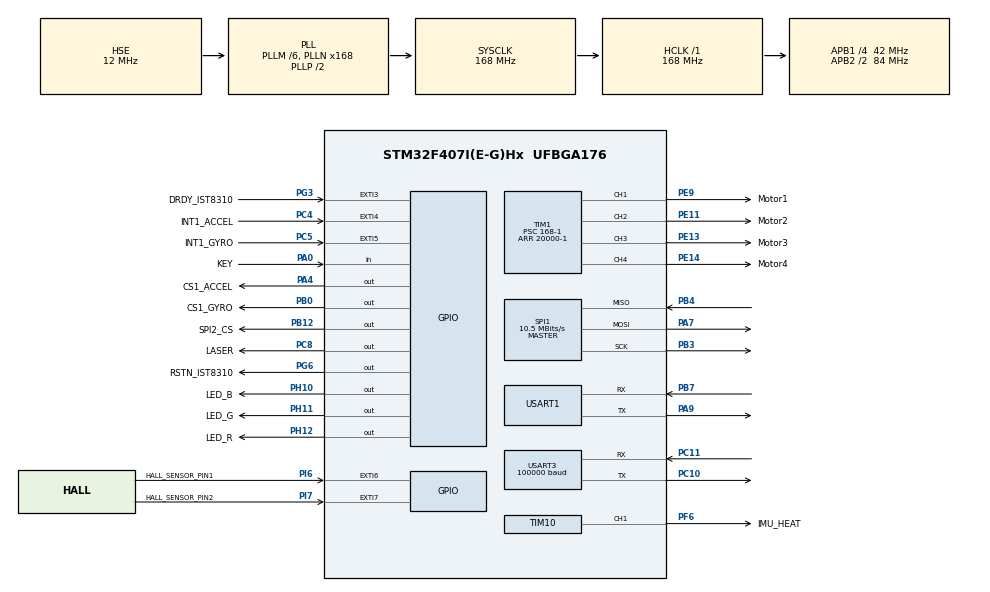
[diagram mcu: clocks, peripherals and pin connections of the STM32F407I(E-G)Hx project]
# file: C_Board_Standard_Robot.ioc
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Dma.Request0=SPI1_RX
Dma.Request1=SPI1_TX
Dma.Request2=USART3_RX
Dma.SPI1_RX.0.Direction=DMA_PERIPH_TO_MEMORY
Dma.SPI1_RX.0.FIFOMode=DMA_FIFOMODE_DISABLE
Dma.SPI1_RX.0.Instance=DMA2_Stream0
Dma.SPI1_RX.0.MemDataAlignment=DMA_MDATAALIGN_BYTE
Dma.SPI1_RX.0.MemInc=DMA_MINC_ENABLE
Dma.SPI1_RX.0.Mode=DMA_NORMAL
Dma.SPI1_RX.0.PeriphDataAlignment=DMA_PDATAALIGN_BYTE
Dma.SPI1_RX.0.PeriphInc=DMA_PINC_DISABLE
Dma.SPI1_RX.0.Priority=DMA_PRIORITY_VERY_HIGH
Dma.SPI1_TX.1.Direction=DMA_MEMORY_TO_PERIPH
Dma.SPI1_TX.1.FIFOMode=DMA_FIFOMODE_DISABLE
Dma.SPI1_TX.1.Instance=DMA2_Stream3
Dma.SPI1_TX.1.MemDataAlignment=DMA_MDATAALIGN_BYTE
Dma.SPI1_TX.1.MemInc=DMA_MINC_ENABLE
Dma.SPI1_TX.1.Mode=DMA_NORMAL
Dma.SPI1_TX.1.PeriphDataAlignment=DMA_PDATAALIGN_BYTE
Dma.SPI1_TX.1.PeriphInc=DMA_PINC_DISABLE
Dma.SPI1_TX.1.Priority=DMA_PRIORITY_HIGH
Dma.USART3_RX.2.Direction=DMA_PERIPH_TO_MEMORY
Dma.USART3_RX.2.FIFOMode=DMA_FIFOMODE_DISABLE
Dma.USART3_RX.2.Instance=DMA1_Stream1
Dma.USART3_RX.2.MemDataAlignment=DMA_MDATAALIGN_BYTE
Dma.USART3_RX.2.MemInc=DMA_MINC_ENABLE
Dma.USART3_RX.2.Mode=DMA_NORMAL
Dma.USART3_RX.2.PeriphDataAlignment=DMA_PDATAALIGN_BYTE
Dma.USART3_RX.2.PeriphInc=DMA_PINC_DISABLE
Dma.USART3_RX.2.Priority=DMA_PRIORITY_VERY_HIGH
FREERTOS.INCLUDE_eTaskGetState=1
FREERTOS.INCLUDE_pcTaskGetTaskName=1
FREERTOS.INCLUDE_uxTaskGetStackHighWaterMark=1
FREERTOS.INCLUDE_vTaskCleanUpResources=1
FREERTOS.INCLUDE_vTaskDelayUntil=1
FREERTOS.INCLUDE_xEventGroupSetBitFromISR=1
FREERTOS.INCLUDE_xQueueGetMutexHolder=1
FREERTOS.INCLUDE_xSemaphoreGetMutexHolder=1
FREERTOS.INCLUDE_xTaskAbortDelay=1
FREERTOS.INCLUDE_xTaskGetCurrentTaskHandle=1
FREERTOS.INCLUDE_xTaskGetHandle=1
FREERTOS.INCLUDE_xTimerPendFunctionCall=1
FREERTOS.Tasks01=INSTask,0,1024,StartINSTask,Default,NULL,Dynamic,NULL,NULL;UARTTask,-3,128,StartUARTTask,Default,NULL,Dynamic,NULL,NULL;ReceiverTask,-3,256,StartTReceiverTask,Default,NULL,Dynamic,NULL,NULL;ControlTask,-3,500,StartControlTask,Default,NULL,Dynamic,NULL,NULL
FREERTOS.configTOTAL_HEAP_SIZE=24576
Mcu.Family=STM32F4
Mcu.Name=STM32F407I(E-G)Hx
Mcu.Package=UFBGA176
NVIC.DMA1_Stream1_IRQn=true\:5\:0\:false\:false\:true\:true\:false\:true\:true
NVIC.DMA2_Stream0_IRQn=true\:5\:0\:false\:false\:true\:false\:false\:true\:true
NVIC.DMA2_Stream3_IRQn=true\:5\:0\:true\:false\:false\:false\:false\:true\:true
NVIC.EXTI3_IRQn=true\:5\:0\:true\:false\:true\:false\:true\:true\:true
NVIC.EXTI4_IRQn=true\:5\:0\:true\:false\:true\:false\:true\:true\:true
NVIC.EXTI9_5_IRQn=true\:5\:0\:true\:false\:true\:false\:true\:true\:true
NVIC.PriorityGroup=NVIC_PRIORITYGROUP_4
NVIC.TIM2_IRQn=true\:0\:0\:false\:false\:true\:false\:false\:true\:true
NVIC.TimeBase=TIM2_IRQn
NVIC.TimeBaseIP=TIM2
NVIC.USART3_IRQn=true\:5\:0\:false\:false\:true\:true\:true\:true\:true
PA0-WKUP.GPIO_Label=KEY
PA0-WKUP.GPIO_PuPd=GPIO_PULLUP
PA0-WKUP.Signal=GPIO_Input
PA13.Mode=Serial_Wire
PA13.Signal=SYS_JTMS-SWDIO
PA14.Mode=Serial_Wire
PA14.Signal=SYS_JTCK-SWCLK
PA4.GPIO_Label=CS1_ACCEL
PA4.GPIO_PuPd=GPIO_PULLUP
PA4.GPIO_Speed=GPIO_SPEED_FREQ_HIGH
PA4.PinState=GPIO_PIN_SET
PA4.Signal=GPIO_Output
PA7.GPIO_PuPd=GPIO_PULLUP
PA7.Mode=Full_Duplex_Master
PA7.Signal=SPI1_MOSI
PA9.Mode=Asynchronous
PA9.Signal=USART1_TX
PB0.GPIO_Label=CS1_GYRO
PB0.GPIO_PuPd=GPIO_PULLUP
PB0.GPIO_Speed=GPIO_SPEED_FREQ_HIGH
PB0.PinState=GPIO_PIN_SET
PB0.Signal=GPIO_Output
PB12.GPIO_Label=SPI2_CS
PB12.GPIO_PuPd=GPIO_PULLUP
PB12.GPIO_Speed=GPIO_SPEED_FREQ_MEDIUM
PB12.PinState=GPIO_PIN_SET
PB12.Signal=GPIO_Output
PB3.GPIO_PuPd=GPIO_PULLUP
PB3.Mode=Full_Duplex_Master
PB3.Signal=SPI1_SCK
PB4.GPIO_PuPd=GPIO_PULLUP
PB4.Mode=Full_Duplex_Master
PB4.Signal=SPI1_MISO
PB7.Mode=Asynchronous
PB7.Signal=USART1_RX
PC10.Mode=Asynchronous
PC10.Signal=USART3_TX
PC11.Mode=Asynchronous
PC11.Signal=USART3_RX
PC4.GPIO_Label=INT1_ACCEL
PC4.GPIO_ModeDefaultEXTI=GPIO_MODE_IT_FALLING
PC4.GPIO_PuPd=GPIO_PULLUP
PC4.Signal=GPXTI4
PC5.GPIO_Label=INT1_GYRO
PC5.GPIO_ModeDefaultEXTI=GPIO_MODE_IT_FALLING
PC5.GPIO_PuPd=GPIO_PULLUP
PC5.Signal=GPXTI5
PC8.GPIO_Label=LASER
PC8.Signal=GPIO_Output
PE11.GPIO_Label=Motor2
PE11.Signal=S_TIM1_CH2
PE13.GPIO_Label=Motor3
PE13.Signal=S_TIM1_CH3
PE14.GPIO_Label=Motor4
PE14.Signal=S_TIM1_CH4
PE9.GPIO_Label=Motor1
PE9.Signal=S_TIM1_CH1
PF6.GPIO_Label=IMU_HEAT
PF6.GPIO_PuPd=GPIO_PULLUP
PF6.GPIO_Speed=GPIO_SPEED_FREQ_HIGH
PF6.Signal=S_TIM10_CH1
PG3.GPIO_Label=DRDY_IST8310
PG3.GPIO_ModeDefaultEXTI=GPIO_MODE_IT_FALLING
PG3.GPIO_PuPd=GPIO_PULLUP
PG3.Signal=GPXTI3
PG6.GPIO_Label=RSTN_IST8310
PG6.GPIO_PuPd=GPIO_PULLUP
PG6.GPIO_Speed=GPIO_SPEED_FREQ_MEDIUM
PG6.PinState=GPIO_PIN_SET
PG6.Signal=GPIO_Output
PH0-OSC_IN.Mode=HSE-External-Oscillator
PH0-OSC_IN.Signal=RCC_OSC_IN
PH1-OSC_OUT.Mode=HSE-External-Oscillator
PH1-OSC_OUT.Signal=RCC_OSC_OUT
PH10.GPIO_Label=LED_B
PH10.Signal=GPIO_Output
PH11.GPIO_Label=LED_G
PH11.Signal=GPIO_Output
PH12.GPIO_Label=LED_R
PH12.Signal=GPIO_Output
PI6.GPIO_Label=HALL_SENSOR_PIN1
PI6.Signal=GPXTI6
PI7.GPIO_Label=HALL_SENSOR_PIN2
PI7.Signal=GPXTI7
ProjectManager.HeapSize=0x2000
ProjectManager.StackSize=0x2000
ProjectManager.TargetToolchain=MDK-ARM V5.32
RCC.48MHZClocksFreq_Value=48000000
RCC.AHBFreq_Value=168000000
RCC.APB1CLKDivider=RCC_HCLK_DIV4
RCC.APB1Freq_Value=42000000
RCC.APB1TimFreq_Value=84000000
RCC.APB2CLKDivider=RCC_HCLK_DIV2
RCC.APB2Freq_Value=84000000
RCC.APB2TimFreq_Value=168000000
RCC.CortexFreq_Value=168000000
RCC.HCLKFreq_Value=168000000
RCC.HSE_VALUE=12000000
RCC.HSI_VALUE=16000000
RCC.LSE_VALUE=32768
RCC.PLLM=6
RCC.PLLN=168
RCC.PLLQ=7
RCC.PLLSourceVirtual=RCC_PLLSOURCE_HSE
RCC.RCC_RTC_Clock_SourceVirtual=RCC_RTCCLKSOURCE_HSE_DIV30
RCC.RCC_RTC_Clock_Source_FROM_HSE=RCC_RTCCLKSOURCE_HSE_DIV30
RCC.SYSCLKFreq_VALUE=168000000
RCC.SYSCLKSource=RCC_SYSCLKSOURCE_PLLCLK
RCC.VCOOutputFreq_Value=336000000
SH.S_TIM10_CH1.0=TIM10_CH1,PWM Generation1 CH1
SH.S_TIM1_CH1.0=TIM1_CH1,PWM Generation1 CH1
SH.S_TIM1_CH2.0=TIM1_CH2,PWM Generation2 CH2
SH.S_TIM1_CH3.0=TIM1_CH3,PWM Generation3 CH3
SH.S_TIM1_CH4.0=TIM1_CH4,PWM Generation4 CH4
SPI1.BaudRatePrescaler=SPI_BAUDRATEPRESCALER_8
SPI1.CLKPhase=SPI_PHASE_2EDGE
SPI1.CLKPolarity=SPI_POLARITY_HIGH
SPI1.CalculateBaudRate=10.5 MBits/s
SPI1.Direction=SPI_DIRECTION_2LINES
SPI1.Mode=SPI_MODE_MASTER
SPI1.VirtualType=VM_MASTER
TIM1.Channel-PWM\ Generation1\ CH1=TIM_CHANNEL_1
TIM1.Channel-PWM\ Generation2\ CH2=TIM_CHANNEL_2
TIM1.Channel-PWM\ Generation3\ CH3=TIM_CHANNEL_3
TIM1.Channel-PWM\ Generation4\ CH4=TIM_CHANNEL_4
TIM1.Period=20000-1
TIM1.Prescaler=168-1
TIM10.Channel=TIM_CHANNEL_1
TIM10.Period=2000-1
TIM10.Prescaler=84-1
USART1.VirtualMode=VM_ASYNC
USART3.BaudRate=100000
USART3.Mode=MODE_RX
USART3.Parity=PARITY_EVEN
USART3.StopBits=STOPBITS_2
USART3.VirtualMode=VM_ASYNC
USART3.WordLength=WORDLENGTH_9B
VP_FREERTOS_VS_CMSIS_V1.Mode=CMSIS_V1
VP_SYS_VS_tim2.Mode=TIM2
VP_TIM10_VS_ClockSourceINT.Mode=Enable_Timer
board=custom

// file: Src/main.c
/* USER CODE BEGIN Header */
/**
 ******************************************************************************
 * @file           : main.c
 * @brief          : Main program body
 ******************************************************************************
 * @attention
 *
 * <h2><center>&copy; Copyright (c) 2021 STMicroelectronics.
 * All rights reserved.</center></h2>
 *
 * This software component is licensed by ST under Ultimate Liberty license
 * SLA0044, the "License"; You may not use this file except in compliance with
 * the License. You may obtain a copy of the License at:
 *                             www.st.com/SLA0044
 *
 ******************************************************************************
 */
/* USER CODE END Header */
#include "main.h"
#include "cmsis_os.h"
#include "dma.h"
#include "spi.h"
#include "tim.h"
#include "usart.h"
#include "gpio.h"

/* USER CODE BEGIN Includes */
#include "BMI088driver.h"
#include "bsp_dwt.h"
#include "Receiver_task.h"
#include "Control_task.h"
#include "command_task.h"

/* USER CODE END Includes */

void SystemClock_Config(void);
void MX_FREERTOS_Init(void);

int main(void)
{

  /* MCU Configuration--------------------------------------------------------*/

  /* Reset of all peripherals, Initializes the Flash interface and the Systick. */
  HAL_Init();

  /* Configure the system clock */
  SystemClock_Config();

  /* Initialize all configured peripherals */
  MX_GPIO_Init();
  MX_DMA_Init();
  MX_SPI1_Init();
  MX_TIM10_Init();
  MX_USART1_UART_Init();
  MX_USART3_UART_Init();
  MX_TIM1_Init();
  /* USER CODE BEGIN 2 */
  //Motor_cali();
		//Motor_init();
		HAL_GPIO_WritePin(LED_R_GPIO_Port, LED_R_Pin, GPIO_PIN_SET); // ����

    Command_Task_Init();
    DWT_Init(168);

    while (BMI088_init(&hspi1, 1) != BMI088_NO_ERROR);
		sbus_init();
		HAL_GPIO_WritePin(LED_R_GPIO_Port, LED_R_Pin, GPIO_PIN_RESET); // ����
		HAL_GPIO_WritePin(LED_G_GPIO_Port, LED_G_Pin, GPIO_PIN_SET); // ����

  /* USER CODE END 2 */

  /* Call init function for freertos objects (in cmsis_os2.c) */
  MX_FREERTOS_Init();

  /* Start scheduler */
  osKernelStart();

  /* We should never get here as control is now taken by the scheduler */

  /* Infinite loop */
    while (1)
    {

    }
}

void SystemClock_Config(void)
{
  RCC_OscInitTypeDef RCC_OscInitStruct = {0};
  RCC_ClkInitTypeDef RCC_ClkInitStruct = {0};

  /** Configure the main internal regulator output voltage
  */
  __HAL_RCC_PWR_CLK_ENABLE();
  __HAL_PWR_VOLTAGESCALING_CONFIG(PWR_REGULATOR_VOLTAGE_SCALE1);

  /** Initializes the RCC Oscillators according to the specified parameters
  * in the RCC_OscInitTypeDef structure.
  */
  RCC_OscInitStruct.OscillatorType = RCC_OSCILLATORTYPE_HSE;
  RCC_OscInitStruct.HSEState = RCC_HSE_ON;
  RCC_OscInitStruct.PLL.PLLState = RCC_PLL_ON;
  RCC_OscInitStruct.PLL.PLLSource = RCC_PLLSOURCE_HSE;
  RCC_OscInitStruct.PLL.PLLM = 6;
  RCC_OscInitStruct.PLL.PLLN = 168;
  RCC_OscInitStruct.PLL.PLLP = RCC_PLLP_DIV2;
  RCC_OscInitStruct.PLL.PLLQ = 7;
  if (HAL_RCC_OscConfig(&RCC_OscInitStruct) != HAL_OK)
  {
    Error_Handler();
  }

  /** Initializes the CPU, AHB and APB buses clocks
  */
  RCC_ClkInitStruct.ClockType = RCC_CLOCKTYPE_HCLK|RCC_CLOCKTYPE_SYSCLK
                              |RCC_CLOCKTYPE_PCLK1|RCC_CLOCKTYPE_PCLK2;
  RCC_ClkInitStruct.SYSCLKSource = RCC_SYSCLKSOURCE_PLLCLK;
  RCC_ClkInitStruct.AHBCLKDivider = RCC_SYSCLK_DIV1;
  RCC_ClkInitStruct.APB1CLKDivider = RCC_HCLK_DIV4;
  RCC_ClkInitStruct.APB2CLKDivider = RCC_HCLK_DIV2;

  if (HAL_RCC_ClockConfig(&RCC_ClkInitStruct, FLASH_LATENCY_5) != HAL_OK)
  {
    Error_Handler();
  }
}

void HAL_TIM_PeriodElapsedCallback(TIM_HandleTypeDef *htim)
{
  if (htim->Instance == TIM2)
  {
    HAL_IncTick();
  }
}

void Error_Handler(void)
{
}

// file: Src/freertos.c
/* USER CODE BEGIN Header */
/**
 ******************************************************************************
 * File Name          : freertos.c
 * Description        : Code for freertos applications
 ******************************************************************************
 * @attention
 *
 * <h2><center>&copy; Copyright (c) 2021 STMicroelectronics.
 * All rights reserved.</center></h2>
 *
 * This software component is licensed by ST under Ultimate Liberty license
 * SLA0044, the "License"; You may not use this file except in compliance with
 * the License. You may obtain a copy of the License at:
 *                             www.st.com/SLA0044
 *
 ******************************************************************************
 */
/* USER CODE END Header */

#include "FreeRTOS.h"
#include "task.h"
#include "main.h"
#include "cmsis_os.h"

/* USER CODE BEGIN Includes */
#include "command_task.h"

#include "ins_task.h"
#include "Receiver_task.h"

/* USER CODE END Includes */

osThreadId INSTaskHandle;
osThreadId UARTTaskHandle;
osThreadId ReceiverTaskHandle;
osThreadId ControlTaskHandle;

void StartINSTask(void const * argument);
void StartUARTTask(void const * argument);
void StartTReceiverTask(void const * argument);
void StartControlTask(void const * argument);

void MX_FREERTOS_Init(void); /* (MISRA C 2004 rule 8.1) */

/* GetIdleTaskMemory prototype (linked to static allocation support) */
void vApplicationGetIdleTaskMemory( StaticTask_t **ppxIdleTaskTCBBuffer, StackType_t **ppxIdleTaskStackBuffer, uint32_t *pulIdleTaskStackSize );

/* GetTimerTaskMemory prototype (linked to static allocation support) */
void vApplicationGetTimerTaskMemory( StaticTask_t **ppxTimerTaskTCBBuffer, StackType_t **ppxTimerTaskStackBuffer, uint32_t *pulTimerTaskStackSize );

/* USER CODE BEGIN GET_IDLE_TASK_MEMORY */
static StaticTask_t xIdleTaskTCBBuffer;
static StackType_t xIdleStack[configMINIMAL_STACK_SIZE];

void vApplicationGetIdleTaskMemory(StaticTask_t **ppxIdleTaskTCBBuffer, StackType_t **ppxIdleTaskStackBuffer, uint32_t *pulIdleTaskStackSize)
{
    *ppxIdleTaskTCBBuffer = &xIdleTaskTCBBuffer;
    *ppxIdleTaskStackBuffer = &xIdleStack[0];
    *pulIdleTaskStackSize = configMINIMAL_STACK_SIZE;
    /* place for user code */
}
/* USER CODE END GET_IDLE_TASK_MEMORY */

/* USER CODE BEGIN GET_TIMER_TASK_MEMORY */
static StaticTask_t xTimerTaskTCBBuffer;
static StackType_t xTimerStack[configTIMER_TASK_STACK_DEPTH];

void vApplicationGetTimerTaskMemory(StaticTask_t **ppxTimerTaskTCBBuffer, StackType_t **ppxTimerTaskStackBuffer, uint32_t *pulTimerTaskStackSize)
{
    *ppxTimerTaskTCBBuffer = &xTimerTaskTCBBuffer;
    *ppxTimerTaskStackBuffer = &xTimerStack[0];
    *pulTimerTaskStackSize = configTIMER_TASK_STACK_DEPTH;
    /* place for user code */
}
/* USER CODE END GET_TIMER_TASK_MEMORY */

void MX_FREERTOS_Init(void) {

  /* Create the thread(s) */
  /* definition and creation of INSTask */
  osThreadDef(INSTask, StartINSTask, osPriorityNormal, 0, 1024);
  INSTaskHandle = osThreadCreate(osThread(INSTask), NULL);

  /* definition and creation of UARTTask */
  osThreadDef(UARTTask, StartUARTTask, osPriorityIdle, 0, 128);
  UARTTaskHandle = osThreadCreate(osThread(UARTTask), NULL);

  /* definition and creation of ReceiverTask */
  osThreadDef(ReceiverTask, StartTReceiverTask, osPriorityIdle, 0, 256);
  ReceiverTaskHandle = osThreadCreate(osThread(ReceiverTask), NULL);

  /* definition and creation of ControlTask */
  osThreadDef(ControlTask, StartControlTask, osPriorityIdle, 0, 500);
  ControlTaskHandle = osThreadCreate(osThread(ControlTask), NULL);

}

void StartINSTask(void const * argument)
{
  /* USER CODE BEGIN StartINSTask */
    INS_Init();
    /* Infinite loop */
    for (;;)
    {
        INS_Task();
        osDelay(1);
    }
  /* USER CODE END StartINSTask */
}

void StartUARTTask(void const * argument)
{
  /* USER CODE BEGIN StartUARTTask */
  /* Infinite loop */
  for(;;)
  {

		UART_Task();
    osDelay(50);
  }
  /* USER CODE END StartUARTTask */
}

void StartTReceiverTask(void const * argument)
{
  /* USER CODE BEGIN StartTReceiverTask */
  /* Infinite loop */
  for(;;)
  {
		    if (sbus_frame_ready)
        {
            sbus_frame_ready = 0;  //
            parse_sbus_frame(sbus_dma_buf);
        }
    osDelay(1);
  }
  /* USER CODE END StartTReceiverTask */
}

void StartControlTask(void const * argument)
{
  /* USER CODE BEGIN StartControlTask */
  /* Infinite loop */
  for(;;)
  {

    Command_Task_Init();
    const TickType_t period = pdMS_TO_TICKS(2);   // 2 ms ����
    TickType_t last_wake = xTaskGetTickCount();

    for (;;) {
        Command_Task_Loop();
        vTaskDelayUntil(&last_wake, period);
    }
  }
  /* USER CODE END StartControlTask */
}
